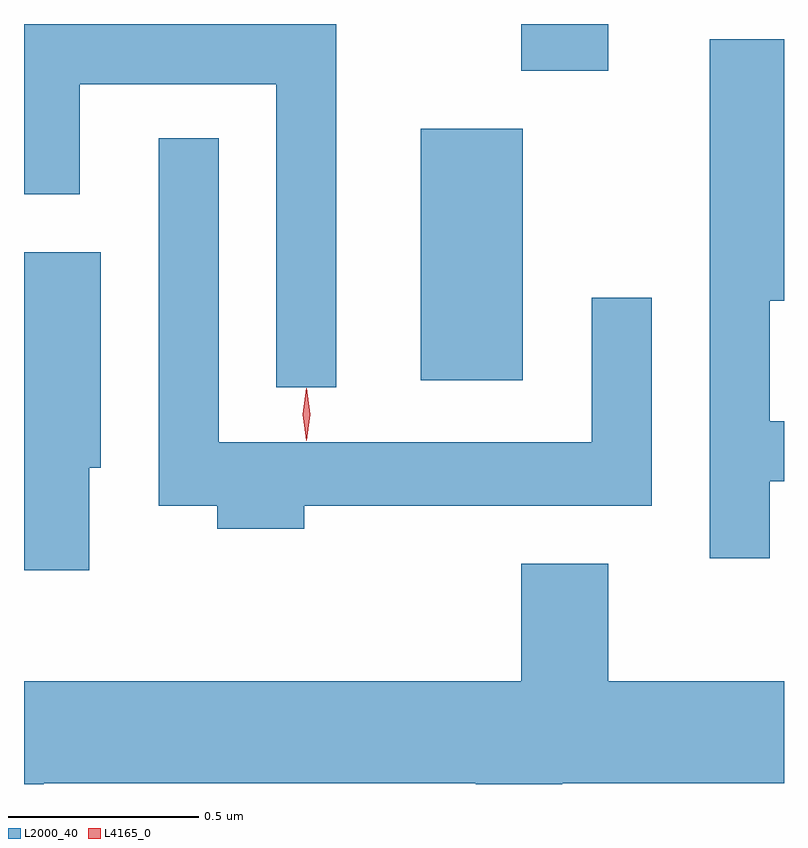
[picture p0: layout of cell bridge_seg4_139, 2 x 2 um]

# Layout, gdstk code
import gdstk
lib = gdstk.Library(unit=1e-6, precision=1e-09)
def R(c, l, rs):  # rectangles x0, y0, x1, y1
    for r in rs: c.add(gdstk.rectangle(r[:2], r[2:], *l))
def P(c, l, *ps):  # polygons
    for p in ps: c.add(gdstk.Polygon(p, *l))
L2000_40 = (2000, 40)
L4165_0 = (4165, 0)

bridge_seg4_139 = lib.new_cell('bridge_seg4_139')
R(bridge_seg4_139, L2000_40, [(872.746,1313.556,873.014,1314.219), (873.011,1314.371,873.239,1314.494)])
P(bridge_seg4_139, L2000_40, [(872.524,1314.494),(871.702,1314.494),(871.702,1314.046),(871.849,1314.046),(871.849,1314.336),(872.366,1314.336),(872.366,1313.538),(872.524,1313.538)],
  [(873.664,1313.291),(873.702,1313.291),(873.702,1313.449),(873.664,1313.449),(873.664,1313.766),(873.702,1313.766),(873.702,1314.454),(873.506,1314.454),(873.506,1313.088),(873.664,1313.088)],
  [(872.439,1313.226),(873.354,1313.226),(873.354,1313.773),(873.196,1313.773),(873.196,1313.394),(872.214,1313.394),(872.214,1314.193),(872.056,1314.193),(872.056,1313.226),(872.211,1313.226),(872.211,1313.166),(872.439,1313.166)],
  [(871.874,1313.326),(871.904,1313.326),(871.904,1313.894),(871.702,1313.894),(871.702,1313.056),(871.874,1313.056)],
  [(871.754,1312.496),(872.891,1312.496),(872.891,1312.494),(873.119,1312.494),(873.119,1312.496),(873.702,1312.496),(873.702,1312.764),(873.239,1312.764),(873.239,1313.074),(873.011,1313.074),(873.011,1312.764),(871.702,1312.764),(871.702,1312.494),(871.754,1312.494)])
P(bridge_seg4_139, L4165_0, [(872.445,1313.397),(872.445,1313.398),(872.436,1313.467),(872.445,1313.536),(872.445,1313.536),(872.446,1313.536),(872.455,1313.467),(872.446,1313.398)],
  [(872.445,1313.399),(872.445,1313.4),(872.435,1313.466),(872.445,1313.532),(872.445,1313.533),(872.446,1313.532),(872.455,1313.466),(872.446,1313.4)])

lib.write_gds('bridge_seg4_139.gds')
